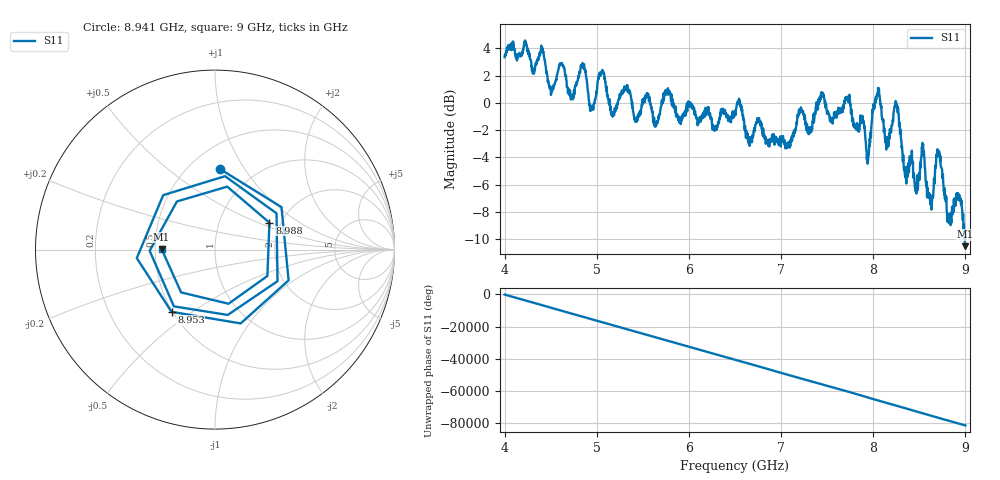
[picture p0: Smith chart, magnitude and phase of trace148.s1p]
! Created with skrf 1.8.0 (http://scikit-rf.org).
# Hz S RI R 50.0
!freq ReS11 ImS11
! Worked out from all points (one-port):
!   1601 points, 4 GHz to 9 GHz, reference 50 ohm
!   lowest |S11| = -10.5 dB at 9 GHz (marker M1), VSWR 1.85, Z = 27.1 + j0.197 ohm
!   |S11| at or under -10 dB: 8.992979 GHz to end of sweep
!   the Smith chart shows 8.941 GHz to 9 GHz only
!   S11 on the Smith chart (normalised r, x): 8.941 GHz: 0.69, +0.78; 8.953 GHz: 0.49, -0.42; 8.988 GHz: 1.74, +0.59; 9 GHz: 0.54, +0.00
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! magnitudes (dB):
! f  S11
! 4 GHz  3.3
! 4.406 GHz  3.8
! 4.506 GHz  0.8
! 4.625 GHz  2.8
! 4.731 GHz  0.4
! 4.853 GHz  2.8
! 4.944 GHz  -0.5
! 5.05 GHz  2.1
! 5.169 GHz  -0.9
! 5.25 GHz  0.6
! 5.875 GHz  -1.0
! 6.5 GHz  -0.7
! 7.125 GHz  -2.4
! 7.441 GHz  0.8
! 7.75 GHz  -0.2
! 7.941 GHz  -4.4
! 8.044 GHz  0.7
! 8.153 GHz  -3.1
! 8.25 GHz  0.0
! 8.375 GHz  -5.3
! 8.538 GHz  -3.2
! 8.625 GHz  -7.4
! 8.709 GHz  -3.7
! 8.822 GHz  -8.8
! 8.941 GHz  -6.9
! 8.953 GHz  -7.5
! 8.988 GHz  -9.4
! 9 GHz  -10.5
